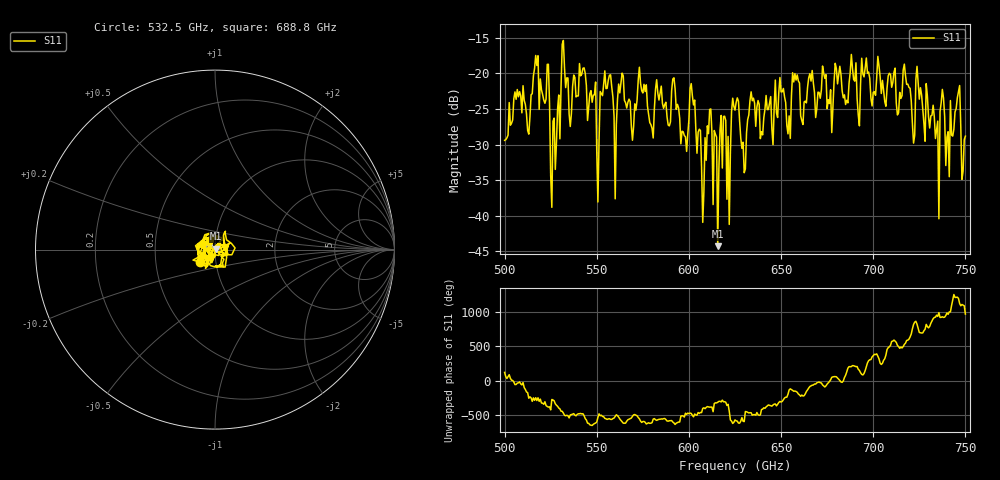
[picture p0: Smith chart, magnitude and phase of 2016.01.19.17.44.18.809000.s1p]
!Created with skrf (http://scikit-rf.org).
# GHz S RI R 50.0
!freq ReS11 ImS11
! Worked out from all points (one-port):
!   401 points, 500 GHz to 750 GHz, reference 50 ohm
!   lowest |S11| = -44.3 dB at 615.6 GHz (marker M1), VSWR 1.01, Z = 50.4 + j0.464 ohm
!   |S11| at or under -10 dB: start of sweep to end of sweep
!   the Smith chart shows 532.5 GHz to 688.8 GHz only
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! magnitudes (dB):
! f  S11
! 500 GHz  -29.4
! 506.9 GHz  -22.3
! 513.1 GHz  -28.5
! 516.9 GHz  -17.5
! 523.1 GHz  -18.7
! 526.2 GHz  -26.7
! 531.2 GHz  -15.9
! 541.9 GHz  -20.1
! 551.2 GHz  -29.3
! 553.1 GHz  -23.1
! 560 GHz  -37.6
! 562.5 GHz  -22.7
! 593.8 GHz  -24.4
! 601.9 GHz  -23.2
! 608.1 GHz  -36.6
! 611.2 GHz  -25.1
! 615.6 GHz  -44.3
! 618.8 GHz  -26.1
! 621.9 GHz  -41.2
! 625 GHz  -25.2
! 629.4 GHz  -29.7
! 634.4 GHz  -23.8
! 656.2 GHz  -19.9
! 687.5 GHz  -19.9
! 718.8 GHz  -21.5
! 734.4 GHz  -27.9
! 745.6 GHz  -23.4
! 750 GHz  -28.8
